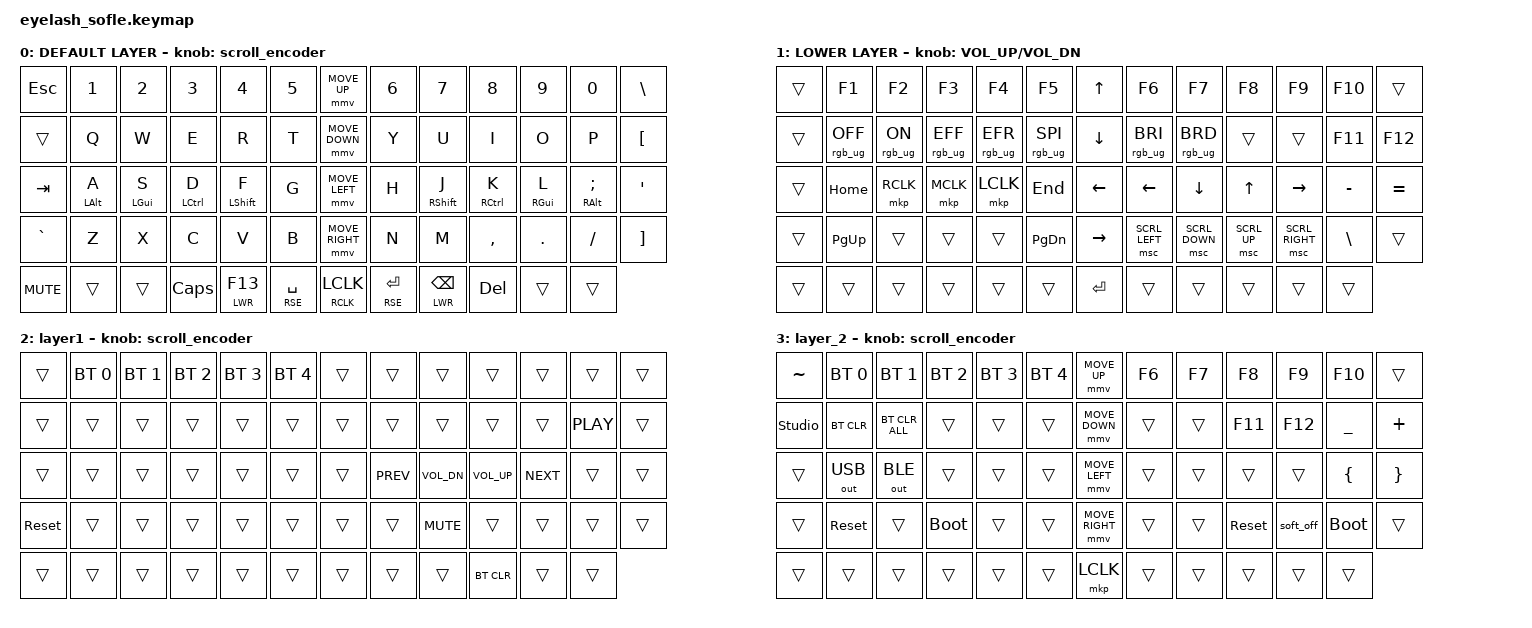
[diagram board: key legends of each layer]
#include <behaviors.dtsi>
#include <dt-bindings/zmk/bt.h>
#include <dt-bindings/zmk/keys.h>
#include <dt-bindings/zmk/mouse.h>
#include <dt-bindings/zmk/outputs.h>
#include <dt-bindings/zmk/rgb.h>

#include <input/processors.dtsi>

/*

   &mmv_input_listener {
       input-processors = <&zip_xy_scaler 2 1>;
   };

   &msc_input_listener {
       input-processors = <&zip_xy_scaler 2 1>;
   };

 */

#define ZMK_MOUSE_DEFAULT_MOVE_VAL 1200  // 600
#define ZMK_MOUSE_DEFAULT_SCRL_VAL 20    // 10


/ {
    behaviors {
        tptgl: tptgl {
          compatible = "zmk,behavior-hold-tap";
          #binding-cells = <2>;
          flavor = "tap-preferred";
          tapping-term-ms = <200>;
          bindings = <&sl>, <&kp>;  // Hold: Layer, Tap: Keypress
        };

        click_hold: click_hold {
            compatible = "zmk,behavior-hold-tap";
            #binding-cells = <2>;
            tapping-term-ms = <200>;
            quick-tap-ms = <0>;
            flavor = "tap-preferred";
            bindings = <&mkp>, <&mkp>;
        };

        mmv {
            acceleration-exponent = <1>;      // 1
            time-to-max-speed-ms = <900>;    // 40
            delay-ms = <0>;                   // 0
        };

        msc {
            acceleration-exponent = <1>;      // 0
            time-to-max-speed-ms = <400>;      // 500
            delay-ms = <0>;                   //   10
        };

        hm: homerow_mods {
            compatible = "zmk,behavior-hold-tap";
            label = "HOMEROW_MODS";
            #binding-cells = <2>;
            tapping-term-ms = <200>;
            quick_tap_ms = <0>;
            flavor = "tap-preferred";
            bindings = <&kp>, <&kp>;
        };
    };

    scroll_encoder: scroll_encoder {
        compatible = "zmk,behavior-sensor-rotate";
        #sensor-binding-cells = <0>;
        bindings = <&msc SCRL_DOWN>, <&msc SCRL_UP>;

        tap-ms = <30>;
    };

    keymap {
        compatible = "zmk,keymap";

        default_layer {
            bindings = <
&kp ESC      &kp N1       &kp N2       &kp N3        &kp N4           &kp N5                    &mmv MOVE_UP              &kp N6            &kp N7           &kp N8          &kp N9          &kp N0          &kp BSLH
&trans       &kp Q        &kp W        &kp E         &kp R            &kp T                     &mmv MOVE_DOWN            &kp Y             &kp U            &kp I           &kp O           &kp P           &kp LBKT
&kp TAB      &hm LALT A   &hm LGUI S   &hm LCTRL D   &hm LSHIFT F     &kp G                     &mmv MOVE_LEFT            &kp H             &hm RSHIFT J     &hm RCTRL K     &hm RGUI L      &hm RALT SEMI   &kp SQT 
&kp GRAVE    &kp Z        &kp X        &kp C         &kp V            &kp B                     &mmv MOVE_RIGHT           &kp N             &kp M            &kp COMMA       &kp DOT         &kp FSLH        &kp RBKT
&kp C_MUTE   &trans       &trans       &kp CAPS      &tptgl LWR F13   &tptgl RSE SPACE          &click_hold RCLK LCLK     &tptgl RSE ENTER  &tptgl LWR BSPC  &kp DEL         &trans          &trans    
            >;
            display-name = "DEFAULT LAYER";
            sensor-bindings = <&scroll_encoder>;
        };


        lower_layer {
            bindings = <
&trans      &kp F1           &kp F2          &kp F3           &kp F4           &kp F5                         &kp UP                   &kp F6           &kp F7           &kp F8        &kp F9           &kp F10      &trans   
&trans      &rgb_ug RGB_OFF  &rgb_ug RGB_ON  &rgb_ug RGB_EFF  &rgb_ug RGB_EFR  &rgb_ug RGB_SPI                &kp DOWN                 &rgb_ug RGB_BRI  &rgb_ug RGB_BRD  &trans        &trans           &kp F11      &kp F12
&trans      &kp HOME         &mkp RCLK       &mkp MCLK        &mkp LCLK        &kp END                        &kp LEFT                 &kp LEFT         &kp DOWN         &kp UP        &kp RIGHT        &kp MINUS    &kp EQUAL
&trans      &kp PG_UP        &trans          &trans           &trans           &kp PG_DN                      &kp RIGHT                &msc SCRL_LEFT   &msc SCRL_DOWN   &msc SCRL_UP  &msc SCRL_RIGHT  &kp BSLH     &trans
&trans      &trans           &trans          &trans           &trans           &trans                         &kp ENTER                &trans           &trans           &trans        &trans           &trans
            >;

            display-name = "LOWER LAYER";
            sensor-bindings = <&inc_dec_kp C_VOLUME_UP C_VOL_DN>;
        };

        raise_layer {
            bindings = <
&trans     &bt BT_SEL 0  &bt BT_SEL 1    &bt BT_SEL 2  &bt BT_SEL 3  &bt BT_SEL 4                             &trans                   &trans     &trans        &trans        &trans      &trans      &trans  
&trans     &trans        &trans          &trans        &trans        &trans                                   &trans                   &trans     &trans        &trans        &trans      &kp C_PLAY  &trans  
&trans     &trans        &trans          &trans        &trans        &trans                                   &trans                   &kp C_PREV &kp C_VOL_DN  &kp C_VOL_UP  &kp C_NEXT  &trans      &trans   
&sys_reset &trans        &trans          &trans        &trans        &trans                                   &trans                   &trans     &kp C_MUTE    &trans        &trans      &trans      &trans
&trans     &trans        &trans          &trans        &trans        &trans                                   &trans                   &trans     &trans        &bt BT_CLR    &trans      &trans
            >;

            display-name = "layer1";
            sensor-bindings = <&scroll_encoder>;
        };

        layer_2 {
            bindings = <
&kp TILDE  &bt BT_SEL 0  &bt BT_SEL 1    &bt BT_SEL 2  &bt BT_SEL 3  &bt BT_SEL 4    &mmv MOVE_UP     &kp F6  &kp F7  &kp F8      &kp F9     &kp F10      &trans
&studio_unlock      &bt BT_CLR    &bt BT_CLR_ALL  &trans        &trans        &trans          &mmv MOVE_DOWN   &trans  &trans  &kp F11     &kp F12    &kp UNDER    &kp PLUS
&trans     &out OUT_USB  &out OUT_BLE    &trans        &trans        &trans          &mmv MOVE_LEFT   &trans  &trans  &trans      &trans     &kp LBRC     &kp RBRC
&trans     &sys_reset    &trans          &bootloader   &trans        &trans          &mmv MOVE_RIGHT  &trans  &trans  &sys_reset  &soft_off  &bootloader  &trans
&trans     &trans        &trans          &trans        &trans        &trans          &mkp LCLK        &trans  &trans  &trans      &trans     &trans
            >;

            sensor-bindings = <&scroll_encoder>;
        };
    };
};
